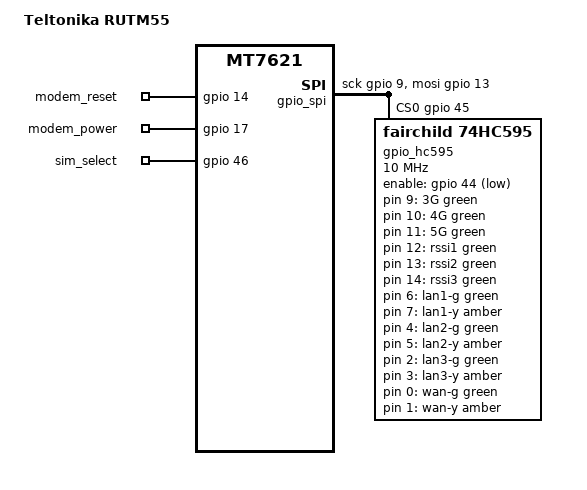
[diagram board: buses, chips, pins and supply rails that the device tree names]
// SPDX-License-Identifier: GPL-2.0-or-later OR MIT
/*
 * Teltonika RUTM55: GPIO and LED pin map from the hardware description
 * shipped in Teltonika RUTM_R_SDK_00.07.26.3.
 */

#include "mt7621_teltonika_rutm-common.dtsi"

/ {
	compatible = "teltonika,rutm55", "mediatek,mt7621-soc";
	model = "Teltonika RUTM55";

	gpio_spi {
		compatible = "spi-gpio";
		#address-cells = <1>;
		#size-cells = <0>;

		sck-gpios = <&gpio 9 GPIO_ACTIVE_HIGH>;
		mosi-gpios = <&gpio 13 GPIO_ACTIVE_HIGH>;
		cs-gpios = <&gpio 45 GPIO_ACTIVE_HIGH>;
		num-chipselects = <1>;

		gpio_hc595: gpio_hc595@0 {
			compatible = "fairchild,74hc595";
			reg = <0>;
			gpio-controller;
			#gpio-cells = <2>;
			registers-number = <2>;
			spi-max-frequency = <10000000>;
			enable-gpios = <&gpio 44 GPIO_ACTIVE_LOW>;
		};
	};

	gpio-export {
		compatible = "gpio-export";

		gpio_modem_reset {
			gpio-export,name = "modem_reset";
			gpio-export,output = <0>;
			gpios = <&gpio 14 GPIO_ACTIVE_HIGH>;
		};

		gpio_modem_power {
			gpio-export,name = "modem_power";
			gpio-export,output = <1>;
			gpios = <&gpio 17 GPIO_ACTIVE_HIGH>;
		};

		gpio_sim_select {
			gpio-export,name = "sim_select";
			gpio-export,output = <1>;
			gpios = <&gpio 46 GPIO_ACTIVE_HIGH>;
		};
	};

	leds {
		3G {
			function = "3G";
			color = <LED_COLOR_ID_GREEN>;
			gpios = <&gpio_hc595 9 GPIO_ACTIVE_HIGH>;
		};

		4G {
			function = "4G";
			color = <LED_COLOR_ID_GREEN>;
			gpios = <&gpio_hc595 10 GPIO_ACTIVE_HIGH>;
		};

		5G {
			function = "5G";
			color = <LED_COLOR_ID_GREEN>;
			gpios = <&gpio_hc595 11 GPIO_ACTIVE_HIGH>;
		};

		rssi1 {
			function = "rssi-1";
			color = <LED_COLOR_ID_GREEN>;
			gpios = <&gpio_hc595 12 GPIO_ACTIVE_HIGH>;
		};

		rssi2 {
			function = "rssi-2";
			color = <LED_COLOR_ID_GREEN>;
			gpios = <&gpio_hc595 13 GPIO_ACTIVE_HIGH>;
		};

		rssi3 {
			function = "rssi-3";
			color = <LED_COLOR_ID_GREEN>;
			gpios = <&gpio_hc595 14 GPIO_ACTIVE_HIGH>;
		};

		lan1-g {
			function = LED_FUNCTION_LAN;
			function-enumerator = <1>;
			color = <LED_COLOR_ID_GREEN>;
			gpios = <&gpio_hc595 6 GPIO_ACTIVE_HIGH>;
			linux,default-trigger = "mt7530-0:00:1Gbps";
		};

		lan1-y {
			function = LED_FUNCTION_LAN;
			function-enumerator = <1>;
			color = <LED_COLOR_ID_AMBER>;
			gpios = <&gpio_hc595 7 GPIO_ACTIVE_HIGH>;
			linux,default-trigger = "mt7530-0:00:100Mbps";
		};

		lan2-g {
			function = LED_FUNCTION_LAN;
			function-enumerator = <2>;
			color = <LED_COLOR_ID_GREEN>;
			gpios = <&gpio_hc595 4 GPIO_ACTIVE_HIGH>;
			linux,default-trigger = "mt7530-0:01:1Gbps";
		};

		lan2-y {
			function = LED_FUNCTION_LAN;
			function-enumerator = <2>;
			color = <LED_COLOR_ID_AMBER>;
			gpios = <&gpio_hc595 5 GPIO_ACTIVE_HIGH>;
			linux,default-trigger = "mt7530-0:01:100Mbps";
		};

		lan3-g {
			function = LED_FUNCTION_LAN;
			function-enumerator = <3>;
			color = <LED_COLOR_ID_GREEN>;
			gpios = <&gpio_hc595 2 GPIO_ACTIVE_HIGH>;
			linux,default-trigger = "mt7530-0:02:1Gbps";
		};

		lan3-y {
			function = LED_FUNCTION_LAN;
			function-enumerator = <3>;
			color = <LED_COLOR_ID_AMBER>;
			gpios = <&gpio_hc595 3 GPIO_ACTIVE_HIGH>;
			linux,default-trigger = "mt7530-0:02:100Mbps";
		};

		wan-g {
			function = LED_FUNCTION_WAN;
			color = <LED_COLOR_ID_GREEN>;
			gpios = <&gpio_hc595 0 GPIO_ACTIVE_HIGH>;
			linux,default-trigger = "mt7530-0:04:1Gbps";
		};

		wan-y {
			function = LED_FUNCTION_WAN;
			color = <LED_COLOR_ID_AMBER>;
			gpios = <&gpio_hc595 1 GPIO_ACTIVE_HIGH>;
			linux,default-trigger = "mt7530-0:04:100Mbps";
		};
	};
};

&switch0 {
	ports {
		port@0 {
			status = "okay";
			label = "lan1";
		};

		port@1 {
			status = "okay";
			label = "lan2";
		};

		port@2 {
			status = "okay";
			label = "lan3";
		};
	};
};
